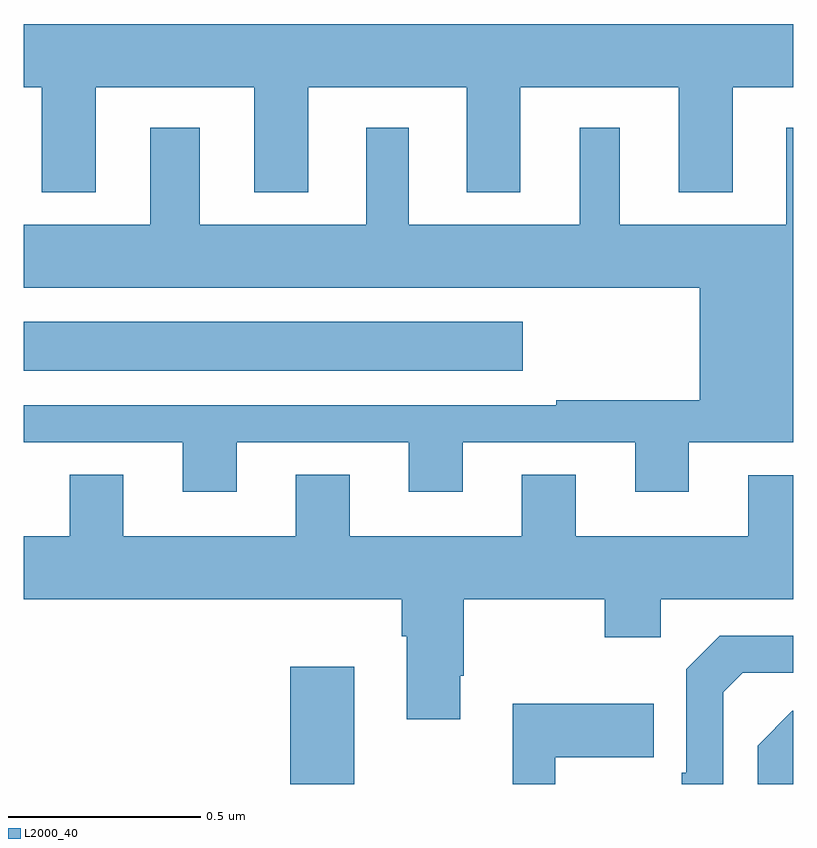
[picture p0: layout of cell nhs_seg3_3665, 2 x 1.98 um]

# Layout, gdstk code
import gdstk
lib = gdstk.Library(unit=1e-6, precision=1e-09)
def R(c, l, rs):  # rectangles x0, y0, x1, y1
    for r in rs: c.add(gdstk.rectangle(r[:2], r[2:], *l))
def P(c, l, *ps):  # polygons
    for p in ps: c.add(gdstk.Polygon(p, *l))
L2000_40 = (2000, 40)

nhs_seg3_3665 = lib.new_cell('nhs_seg3_3665')
R(nhs_seg3_3665, L2000_40, [(156.692,736.4,156.859,736.705), (156,737.474,157.297,737.602)])
P(nhs_seg3_3665, L2000_40, [(156.187,738.212),(156.599,738.212),(156.599,737.939),(156.739,737.939),(156.739,738.212),(157.151,738.212),(157.151,737.939),(157.291,737.939),(157.291,738.212),(157.703,738.212),(157.703,737.939),(157.843,737.939),(157.843,738.212),(158,738.212),(158,738.376),(156,738.376),(156,738.212),(156.047,738.212),(156.047,737.939),(156.187,737.939)],
  [(156.553,737.289),(157.001,737.289),(157.001,737.16),(157.141,737.16),(157.141,737.289),(157.589,737.289),(157.589,737.16),(157.729,737.16),(157.729,737.288),(158,737.288),(158,738.106),(157.982,738.106),(157.982,737.854),(157.549,737.854),(157.549,738.106),(157.445,738.106),(157.445,737.854),(157,737.854),(157,738.106),(156.89,738.106),(156.89,737.854),(156.457,737.854),(156.457,738.106),(156.329,738.106),(156.329,737.854),(156,737.854),(156,737.69),(157.757,737.69),(157.757,737.398),(157.384,737.398),(157.384,737.385),(156,737.385),(156,737.289),(156.413,737.289),(156.413,737.16),(156.553,737.16)],
  [(157.135,736.681),(157.143,736.681),(157.143,736.88),(157.51,736.88),(157.51,736.781),(157.656,736.781),(157.656,736.88),(158,736.88),(158,737.203),(157.883,737.203),(157.883,737.044),(157.435,737.044),(157.435,737.204),(157.295,737.204),(157.295,737.044),(156.847,737.044),(156.847,737.204),(156.707,737.204),(156.707,737.044),(156.259,737.044),(156.259,737.204),(156.119,737.204),(156.119,737.044),(156,737.044),(156,736.88),(156.983,736.88),(156.983,736.784),(156.995,736.784),(156.995,736.569),(157.135,736.569)],
  [(157.818,736.638),(157.869,736.689),(158,736.689),(158,736.785),(157.809,736.785),(157.722,736.698),(157.722,736.429),(157.71,736.429),(157.71,736.4),(157.818,736.4)],
  [(157.381,736.469),(157.637,736.469),(157.637,736.609),(157.271,736.609),(157.271,736.4),(157.381,736.4)],
  [(158,736.59),(157.998,736.59),(157.908,736.5),(157.908,736.4),(158,736.4)])

lib.write_gds('nhs_seg3_3665.gds')
